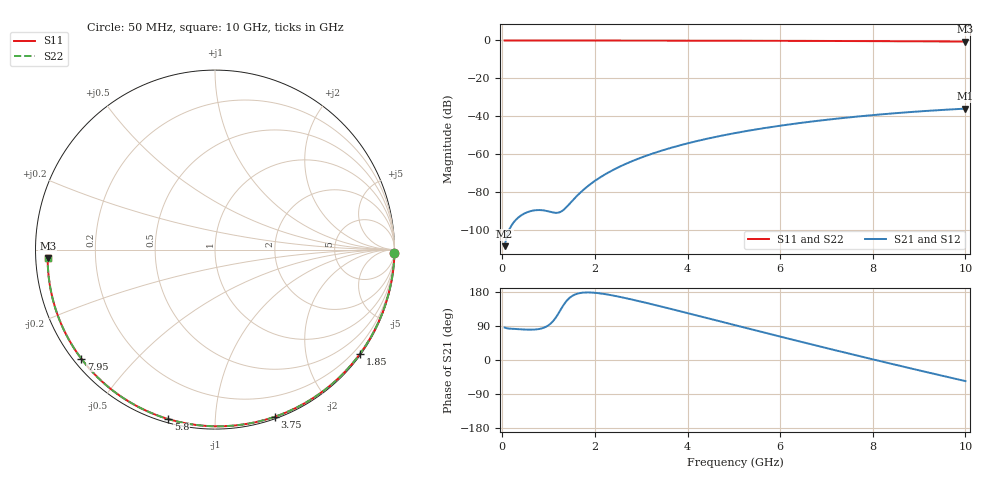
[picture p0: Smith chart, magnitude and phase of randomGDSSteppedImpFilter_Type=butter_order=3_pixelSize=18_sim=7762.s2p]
! freq	dB(S11)	phase(S11)	dB(S12)	phase(S12)
!  dB(S21)	phase(S21)	dB(S22)	phase(S22)
!S-par simulation data
#  GHz  S  DB  R 50
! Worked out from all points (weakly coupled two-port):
!   200 points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, 50 MHz to 10 GHz, reference 50 ohm
!   highest |S21| = -36.05 dB at 10 GHz (marker M1); lowest = -108.7 dB at 50 MHz (marker M2)
!   lowest |S11| = -0.6 dB at 10 GHz (marker M3), VSWR 29.08, Z = 1.72 - j1.29 ohm
!   |S11| at or under -10 dB: nowhere
!   |S22| runs from -0.6 to 0.0 dB; largest |S21 - S12| = 0
!   S11 on the Smith chart (normalised r, x): 50 MHz: open; 1.85 GHz: 0.03, -3.11; 3.75 GHz: 0.02, -1.42; 5.8 GHz: 0.02, -0.76; 7.95 GHz: 0.02, -0.36; 10 GHz: 0.03, -0.03
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0.05  -0.00 -1.0  -108.75 85.7  -108.75 85.7  -0.00 -1.0
0.45  -0.01 -8.8  -91.83 80.6  -91.83 80.6  -0.01 -8.8
0.85  -0.02 -16.6  -89.72 83.3  -89.72 83.3  -0.02 -16.6
1.25  -0.03 -24.3  -90.72 130.7  -90.72 130.7  -0.03 -24.3
1.7  -0.04 -32.9  -80.09 177.1  -80.09 177.1  -0.04 -32.9
1.75  -0.04 -33.8  -78.99 177.9  -78.99 177.9  -0.04 -33.8
1.85  -0.05 -35.7  -76.94 178.3  -76.94 178.3  -0.05 -35.7
2  -0.05 -38.5  -74.21 177.4  -74.21 177.4  -0.05 -38.5
2.15  -0.05 -41.3  -71.81 175.1  -71.81 175.1  -0.05 -41.3
2.5  -0.06 -47.8  -67.13 167.5  -67.13 167.5  -0.06 -47.8
2.9  -0.07 -55.2  -62.85 156.8  -62.85 156.8  -0.07 -55.2
3.4  -0.09 -64.2  -58.55 142.1  -58.55 142.1  -0.09 -64.2
3.75  -0.10 -70.4  -56.02 131.4  -56.02 131.4  -0.10 -70.4
4.4  -0.12 -81.7  -52.07 111.3  -52.07 111.3  -0.12 -81.7
5.05  -0.14 -92.8  -48.85 91.1  -48.85 91.1  -0.14 -92.8
5.8  -0.18 -105.3  -45.79 67.9  -45.79 67.9  -0.18 -105.3
6.7  -0.24 -120.2  -42.80 40.5  -42.80 40.5  -0.24 -120.2
7.3  -0.28 -130.0  -41.14 22.5  -41.14 22.5  -0.28 -130.0
7.95  -0.34 -140.8  -39.57 3.2  -39.57 3.2  -0.34 -140.8
8.35  -0.38 -147.5  -38.72 -8.5  -38.72 -8.5  -0.38 -147.5
9.2  -0.48 -162.3  -37.18 -33.1  -37.18 -33.1  -0.48 -162.3
10  -0.60 -177.0  -36.05 -55.6  -36.05 -55.6  -0.60 -177.0
